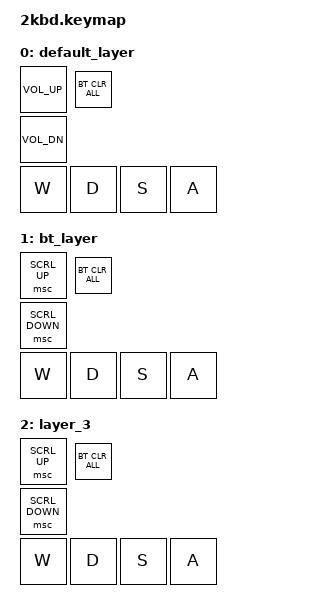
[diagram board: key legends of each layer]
#include <behaviors.dtsi>
#include <dt-bindings/zmk/keys.h>
#include <dt-bindings/zmk/bt.h>
#include <dt-bindings/zmk/pointing.h>


/ {

  keymap {
        compatible = "zmk,keymap";

        default_layer {
            bindings = <
              &bt BT_CLR_ALL &kp K_VOL_UP  &kp K_VOL_DN
              &kp W     &kp D     &kp S     &kp A
            >;
        };

        bt_layer {
            bindings = <
                &bt BT_CLR_ALL &msc SCRL_UP  &msc SCRL_DOWN
                &kp W     &kp D     &kp S     &kp A
            >;
        };

        layer_3 {
            bindings = <
                &bt BT_CLR_ALL &msc SCRL_UP  &msc SCRL_DOWN
                &kp W     &kp D     &kp S     &kp A
            >;
        };
    };
};
